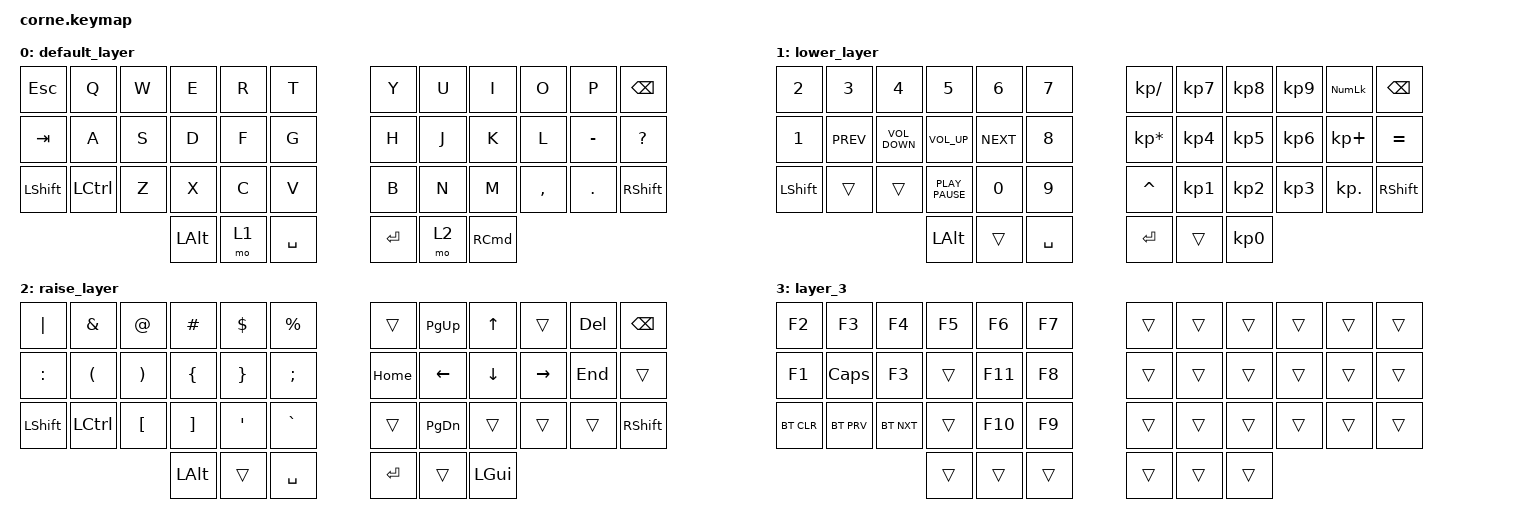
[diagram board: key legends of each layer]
/*
 * Copyright (c) 2020 The ZMK Contributors
 *
 * SPDX-License-Identifier: MIT
 */

#include <behaviors.dtsi>
#include <dt-bindings/zmk/bt.h>
#include <dt-bindings/zmk/keys.h>

/ {
    keymap {
        compatible = "zmk,keymap";

        default_layer {
            // -----------------------------------------------------------------------------------------
            // | ESC  |   Q   |  W  |  E  |  R  |  T  |   |  Y  |  U   |  I  |   O   |    P    | BSPC  |
            // | TAB  |   A   |  S  |  D  |  F  |  G  |   |  H  |  J   |  K  |   L   |  MINUS  | EQUAL |
            // | SHFT |  CTRL |  Z  |  X  |  C  |  V  |   |  B  |  M   |  N  |   ,   |    .    | SHFT  |
            //                    | ALT | LWR | SPC |   | ENT | RSE  | GUI |

            bindings = <
&kp ESC    &kp Q      &kp W  &kp E         &kp R  &kp T        &kp Y    &kp U  &kp I              &kp O      &kp P      &kp BSPC
&kp TAB    &kp A      &kp S  &kp D         &kp F  &kp G        &kp H    &kp J  &kp K              &kp L      &kp MINUS  &kp QMARK
&kp LSHFT  &kp LCTRL  &kp Z  &kp X         &kp C  &kp V        &kp B    &kp N  &kp M              &kp COMMA  &kp DOT    &kp RSHFT
                             &kp LEFT_ALT  &mo 1  &kp SPACE    &kp RET  &mo 2  &kp RIGHT_COMMAND
            >;
        };

        lower_layer {
            // -----------------------------------------------------------------------------------------
            // |  TAB |  1  |  2  |  3  |  4  |  5  |   |  6  |  7  |  8  |  9  |  0  | BSPC |
            // | BTCLR| BT1 | BT2 | BT3 | BT4 | BT5 |   | LFT | DWN |  UP | RGT |     |      |
            // | SHFT |     |     |     |     |     |   |     |     |     |     |     |      |
            //                    | GUI |     | SPC |   | ENT |     | ALT |

            bindings = <
&kp N2     &kp N3      &kp N4             &kp N5            &kp N6      &kp N7       &kp KP_DIVIDE    &kp KP_N7  &kp KP_N8  &kp KP_N9        &kp KP_NUMLOCK  &kp BSPC
&kp N1     &kp C_PREV  &kp C_VOLUME_DOWN  &kp C_VOL_UP      &kp C_NEXT  &kp N8       &kp KP_MULTIPLY  &kp KP_N4  &kp KP_N5  &kp KP_NUMBER_6  &kp KP_PLUS     &kp EQUAL
&kp LSHFT  &trans      &trans             &kp K_PLAY_PAUSE  &kp N0      &kp N9       &kp CARET        &kp KP_N1  &kp KP_N2  &kp KP_N3        &kp KP_DOT      &kp RIGHT_SHIFT
                                          &kp LEFT_ALT      &trans      &kp SPACE    &kp RET          &trans     &kp KP_N0
            >;
        };

        raise_layer {
            // -----------------------------------------------------------------------------------------
            // |  TAB |  !  |  @  |  #  |  $  |  %  |   |  ^  |  &  |  *  |  (  |  )  | BSPC |
            // | CTRL |     |     |     |     |     |   |  -  |  =  |  [  |  ]  |  \  |  `   |
            // | SHFT |     |     |     |     |     |   |  _  |  +  |  {  |  }  | "|" |  ~   |
            //                    | GUI |     | SPC |   | ENT |     | ALT |

            bindings = <
&kp PIPE   &kp AMPERSAND     &kp AT    &kp HASH      &kp DLLR          &kp PRCNT    &trans    &kp PG_UP  &kp UP        &trans     &kp DEL  &kp BSPC
&kp COLON  &kp LPAR          &kp RPAR  &kp LBRC      &kp RBRC          &kp SEMI     &kp HOME  &kp LEFT   &kp DOWN      &kp RIGHT  &kp END  &trans
&kp LSHFT  &kp LEFT_CONTROL  &kp LBKT  &kp RBKT      &kp SINGLE_QUOTE  &kp GRAVE    &trans    &kp PG_DN  &trans        &trans     &trans   &kp RIGHT_SHIFT
                                       &kp LEFT_ALT  &trans            &kp SPACE    &kp RET   &trans     &kp LEFT_GUI
            >;
        };

        layer_3 {
            bindings = <
&kp F2      &kp F3        &kp F4      &kp F5  &kp F6   &kp F7    &trans  &trans  &trans  &trans  &trans  &trans
&kp F1      &kp CAPSLOCK  &kp F3      &trans  &kp F11  &kp F8    &trans  &trans  &trans  &trans  &trans  &trans
&bt BT_CLR  &bt BT_PRV    &bt BT_NXT  &trans  &kp F10  &kp F9    &trans  &trans  &trans  &trans  &trans  &trans
                                      &trans  &trans   &trans    &trans  &trans  &trans
            >;
        };
    };

    conditional_layers {
        compatible = "zmk,conditional-layers";

        LayerThree {
            if-layers = <1 2>;
            then-layer = <3>;
        };
    };
};
